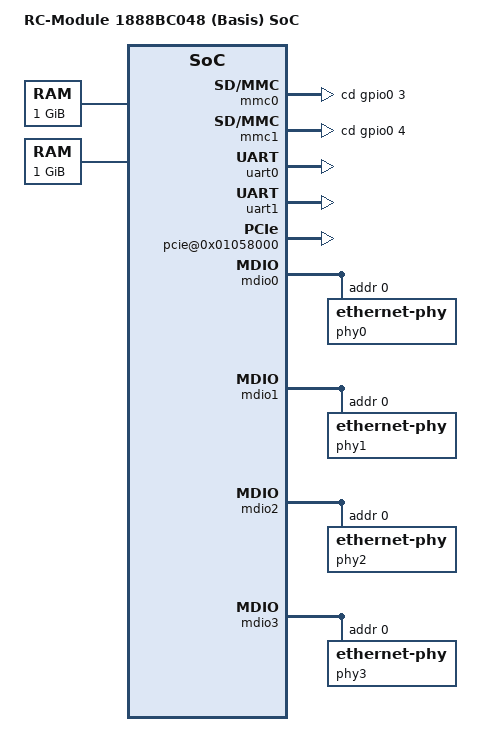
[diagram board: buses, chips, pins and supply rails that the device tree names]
/*
 * Device Tree Source for RCM BIVK mainboard
 *
 * This file is licensed under the terms of the GNU General Public
 * License version 2.  This program is licensed "as is" without
 * any warranty of any kind, whether express or implied.
 */

#include "1888bc048.dtsi"

/ {
	model = "RC-Module 1888BC048 (Basis) SoC";

	aliases {
		uart0 = &uart0;
		mmc0 = &mmc0;
		mmc1 = &mmc1;
	}; 

	chosen {
		stdout-path = &uart0;
	};

	// 1Gib at 0x80000000
	memory@80000000 {
		device_type = "memory";
		reg = <0x80000000 0x40000000>;
	};

	// 1Gib at 0xC0000000
	memory@C0000000 {
		device_type = "memory";
		reg = <0xC0000000 0x40000000>;
	};

	apbf0 {
		mgeth0: mgeth0@0x01014000 {
			status = "ok";
			phys = <&sgmiiphy>;
			phy-handle = <&phy0>;
			phy-mode = "sgmii";
		};

		mgeth1: mgeth1@0x01015000 {
			status = "ok";
			phys = <&sgmiiphy>;
			phy-handle = <&phy1>;
			phy-mode = "sgmii";
		};

		mgeth2: mgeth2@0x01016000 {
			status = "ok";
			phys = <&sgmiiphy>;
			phy-handle = <&phy2>;
			phy-mode = "sgmii";
		};

		mgeth3: mgeth3@0x01017000 {
			status = "ok";
			phys = <&sgmiiphy>;
			phy-handle = <&phy3>;
			phy-mode = "sgmii";
		};
	};

	apbs0 {
		thermal: thermal {
			status = "ok";
		};
	};

	apbs1 {
		spi@01040000 {
			status = "disable";
			cs-gpios = <&gpio0 5 0>;
			num-cs = <1>;

			spi_flash0@0 {
				compatible = "st,w25q32", "spi-flash";
				reg = <0>;
				spi-max-frequency = <1000000>;
				spi-cpol;
				spi-cpha;
			};
		};


		mmc0: mmc0@01042000 {
			status = "ok";
			cd-gpios = <&gpio0 3 0>; // GPIO0<3>
		};

		mmc1: mmc1@01043000 {
			status = "ok";
			cd-gpios = <&gpio0 4 0>; // GPIO0<4>
		};

		uart0: uart0@01044000 {
			status = "ok";
		};

		mdma_uart0: dma@01044100 {
			status = "ok";
		};

		uart1: uart1@01045000 {
			status = "ok";
		};

		mdma_uart1: dma@01045100 {
			status = "ok";
		};

		timer01@01048000 {
			status = "ok";
		};

		pcie@0x01058000 {
			status = "ok";

			sw@0 {
				pri-bus = <0x02>;
				dev-num = <0x01 0x02 0x03 0x04 0x05 0x06 0x07 0x08 0x09 0x0A 0x0B>;
				sec-bus = <0x03 0x04 0x05 0x06 0x07 0x08 0x09 0x0A 0x0B 0x0C 0x0D>;
				sub-bus = <0x03 0x04 0x05 0x06 0x07 0x08 0x09 0x0A 0x0B 0x0C 0x0D>; 
			};
		};
	};

	apbs2 {
		wd@0108f000 {
			status = "ok";
		};

		gpio0: gpio0@01088000 {
			status = "ok";
		};

		gpio1: gpio1@01089000 {
			status = "ok";
		};

		gpio2: gpio0@0108a000 {
			status = "ok";
		};

		gpio3: gpio0@0108b000 {
			status = "ok";
		};

		gpio4: gpio0@0108c000 {
			status = "ok";
		};

		mdio0: mdio0@0x01080000 {
			status = "ok";

			phy0: ethernet-phy@0 {
				reg = <0>;
			};
		};

		mdio1: mdio0@0x01081000 {
			status = "ok";

			phy1: ethernet-phy@0 {
				reg = <0>;
			};
		};

		mdio2: mdio0@0x01082000 {
			status = "ok";

			phy2: ethernet-phy@0 {
				reg = <0>;
			};
		};

		mdio3: mdio0@0x01083000 {
			status = "ok";

			phy3: ethernet-phy@0 {
				reg = <0>;
			};
		};

		sgmiiphy: sgmiphy@0x01086000 {
			status = "ok";
		};
	};

	axi32 {
		L2: l2-cache-controller@0x01106000 {
			status = "ok";
		};	
	};

	thermal-zones {
		cpu-thermal {
			polling-delay-passive = <0>;
			polling-delay =  <1000>;
			thermal-sensors = <&thermal>;

			trips {
				cpu-crit {
					temperature = <100000>;
					hysteresis = <0>;
					type = "critical";
				};
			};

			cooling-maps {
			};
		};
	};
};

